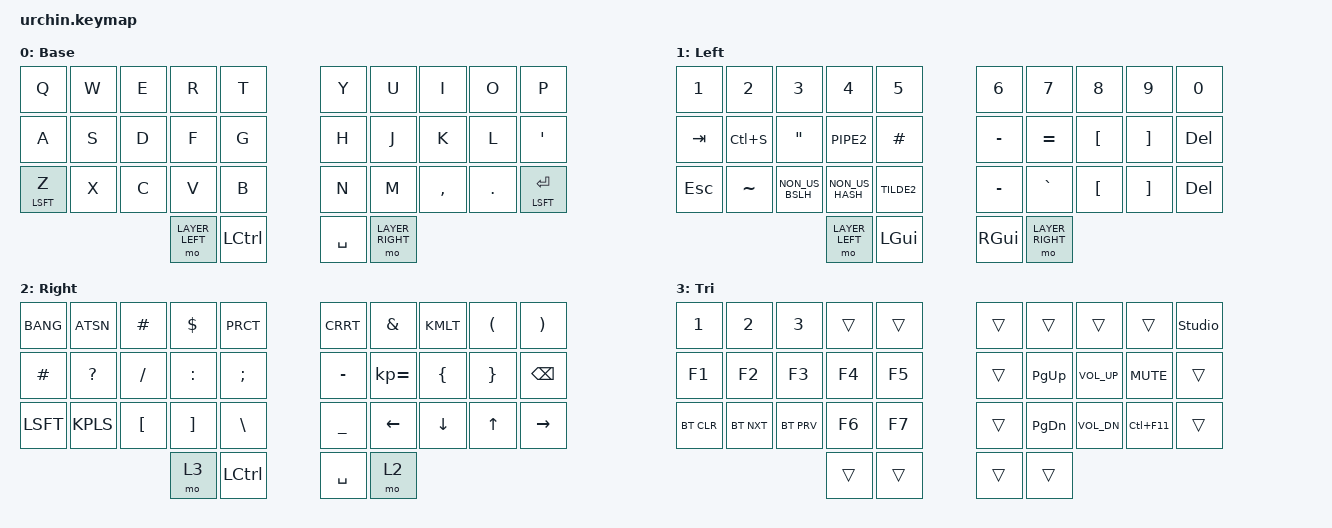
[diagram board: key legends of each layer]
/*
 * Copyright (c) 2020 duckyb
 *
 * SPDX-License-Identifier: MIT
 */

#include <behaviors.dtsi>
#include <dt-bindings/zmk/keys.h>
#include <dt-bindings/zmk/bt.h>
// #include <dt-bindings/zmk/outputs.h>
// #include "keymap_italian.h"

// Layer definitions
#define LAYER_BASE 0
#define LAYER_LEFT 1
#define LAYER_RIGHT 2
#define LAYER_TRI 3
// -----------------

// &sk {
// 	// don't release mods on other mods presses
// 	ignore-modifiers;
// };


/ {
	// behaviors {
	// 	// Enables holding the first mod-tap key
	// 	// by performing a tap-release-hold sequence.
	// 	// To use it: "&qt KEYCODE1 KEYCODE2"
	// 	qt: quick_tap {
	// 		compatible = "zmk,behavior-hold-tap";
	// 		label = "QUICK_TAP";
	// 		#binding-cells = <2>;
	// 		flavor = "hold-preferred";
	// 		tapping-term-ms = <200>;
	// 		quick-tap-ms = <200>;
	// 		bindings = <&kp>, <&kp>;
	// 	};
	// };

	// macros {
	// 	// sometimes my device thinks a modifier is being held down
	// 	// pressing all modifiers fixes it.
	// 	unstick: unstick {
	// 		label = "ZM_unstick";
	// 		compatible = "zmk,behavior-macro";
	// 		#binding-cells = <0>;
	// 		bindings = <&kp LSHIFT &kp RSHIFT &kp LCTRL &kp RCTRL &kp LALT &kp RALT &kp LGUI &kp RGUI>;
	// 	};
	// };

	combos {
		compatible = "zmk,combos";
		// both right thumb keys
		// combo_accent {
		// 	timeout-ms = <200>;
		// 	key-positions = <32 33>;
		// 	bindings = <&mo ACCENT>;
		// };
		// // internal-left & external-right thumb keys
		// combo_sym2 {
		// 	timeout-ms = <200>;
		// 	key-positions = <31 33>;
		// 	bindings = <&mo SYM2>;
		// };
		// // both left thumb keys
		// combo_settings {
		// 	timeout-ms = <200>;
		// 	key-positions = <30 31>;
		// 	bindings = <&mo SETTINGS>;
		// };
		// // left index & middle fingers (home-row)
		// // hold control & space for Adobe workflow
		// combo_ctrl_space {
		// 	timeout-ms = <200>;
		// 	key-positions = <12 13>;
		// 	bindings = <&kp LC(SPACE)>;
		// 	layers = <BASE>;
		// };

        combo_esc {
            timeout-ms = <50>;
            key-positions = <0 1>;
            bindings = <&kp ESC>;
        };
        
         // combo_tab {
         //    timeout-ms = <50>;
         //    key-positions = <10 11>;
         //    bindings = <&kp TAB>;
        // };
        
            combo_ralt {
            timeout-ms = <50>;
            key-positions = <17 16>;
            bindings = <&kp RALT>;
        };
        
                    combo_lalt {
            timeout-ms = <50>;
            key-positions = <11 12>;
            bindings = <&kp LALT>;
        };
        
                           combo_lgui {
            timeout-ms = <50>;
            key-positions = <12 13>;
            bindings = <&kp LGUI>;
        };
        
        
           combo_rgui {
            timeout-ms = <50>;
            key-positions = <17 18>;
            bindings = <&kp RGUI>;
        };


	};

	keymap {
		compatible = "zmk,keymap";
		// Base alpha layer
		default_layer {
			label = "Base";
			bindings = <
		&kp Q &kp W &kp E &kp R &kp T 						&kp Y &kp U  &kp I    &kp O   &kp P 
		&kp A &kp S &kp D &kp F &kp G 			        	        &kp H &kp J &kp K &kp L &kp QUOT
		&mt LSFT Z &kp X &kp C &kp V &kp B				        &kp N &kp M  &kp CMMA &kp DOT &mt LSFT RET
          				&mo LAYER_LEFT &kp LCTL  				&kp SPC &mo LAYER_RIGHT
			>;
		};

		// Numbers top row, symbols
		left_layer {
			label = "Left";
			bindings = <
			&kp NUM_1 &kp NUM_2 &kp NUM_3 &kp NUM_4 &kp NUM_5                       &kp NUM_6 &kp NUM_7 &kp NUM_8 &kp NUM_9 &kp NUM_0
			&kp TAB   &kp LC(S) &kp DQT   &kp PIPE2 &kp HASH                        &kp MINUS &kp EQL   &kp LBKT  &kp RBKT  &kp DEL
			&kp ESC   &kp TILDE &kp NON_US_BSLH &kp NON_US_HASH &kp TILDE2          &kp MINUS &kp GRAVE &kp LBKT &kp RBKT &kp DEL
							   					&mo LAYER_LEFT  &kp LGUI       &kp RGUI &mo LAYER_RIGHT
			>;
		};

		// Symbol top row, arrow keys and more symbols
		ext_layer {
			label = "Right";
			bindings = <
            &kp BANG  &kp ATSN &kp HASH  &kp DLLR  &kp PRCT             &kp CRRT  &kp AMPS &kp KMLT &kp LPRN &kp RPRN 
            &kp HASH  &kp QMARK  &kp FSLH  &kp COLN  &kp SCLN           &kp MINUS &kp KP_EQUAL  &kp LBRC  &kp RBRC   &kp BKSP
            &kp LSFT  &kp KPLS &kp LBKT &kp RBKT   &kp BSLH             &kp UNDER &kp LEFT &kp DOWN &kp UP  &kp RIGHT
                          &mo 3 &kp LCTL                &kp SPC  &mo 2
			>;
		};

		// Function keys with modifiers
		tri_layer {
			label = "Tri";
			bindings = <
            &kp NUM_1  &kp NUM_2    &kp NUM_3    &trans &trans 			&trans &trans   &trans   &trans  &studio_unlock
            &kp F1 &kp F2 &kp F3 &kp F4 &kp F5  						&trans &kp PG_UP  &kp K_VOL_UP &kp K_MUTE &trans 
            &bt BT_CLR  &bt BT_NXT &bt BT_PRV &kp F6 &kp F7   				&trans &kp PG_DN  &kp K_VOL_DN &kp LC(F11) &trans   
                         &trans &trans  					&trans &trans 
			>;
		};
	};
};
